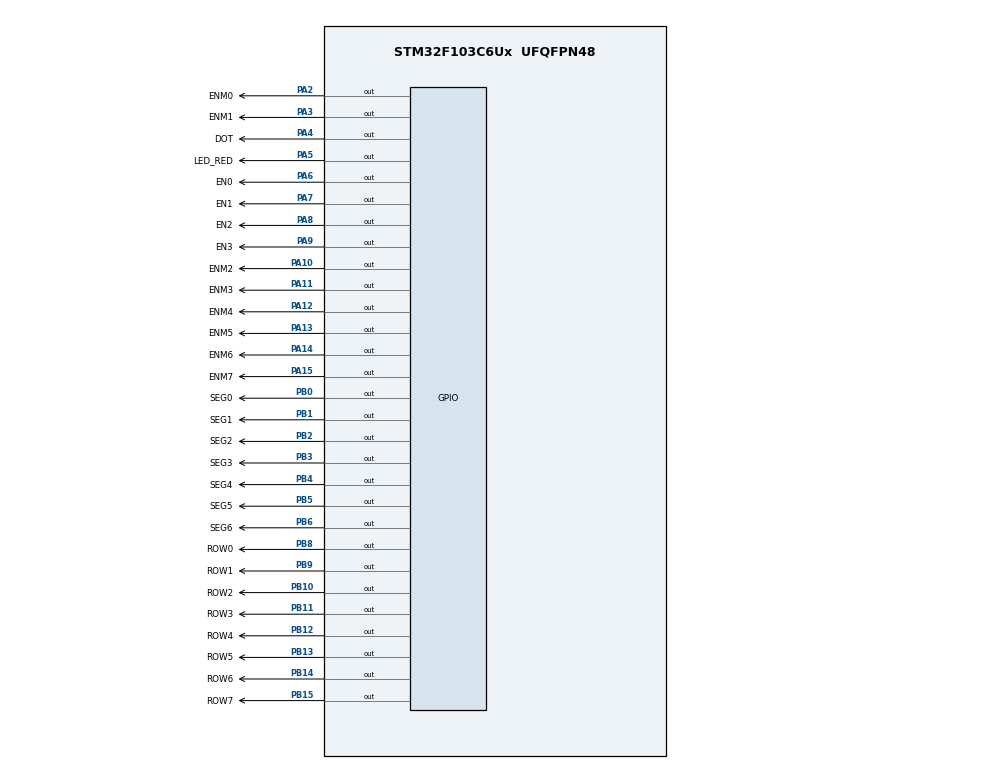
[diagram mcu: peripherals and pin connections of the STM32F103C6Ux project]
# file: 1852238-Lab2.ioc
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Mcu.Family=STM32F1
Mcu.Name=STM32F103C6Ux
Mcu.Package=UFQFPN48
NVIC.PriorityGroup=NVIC_PRIORITYGROUP_4
NVIC.TIM2_IRQn=true\:0\:0\:false\:false\:true\:true\:true
PA10.GPIO_Label=ENM2
PA10.Signal=GPIO_Output
PA11.GPIO_Label=ENM3
PA11.Signal=GPIO_Output
PA12.GPIO_Label=ENM4
PA12.Signal=GPIO_Output
PA13.GPIO_Label=ENM5
PA13.Signal=GPIO_Output
PA14.GPIO_Label=ENM6
PA14.Signal=GPIO_Output
PA15.GPIO_Label=ENM7
PA15.Signal=GPIO_Output
PA2.GPIO_Label=ENM0
PA2.Signal=GPIO_Output
PA3.GPIO_Label=ENM1
PA3.Signal=GPIO_Output
PA4.GPIO_Label=DOT
PA4.Signal=GPIO_Output
PA5.GPIO_Label=LED_RED
PA5.Signal=GPIO_Output
PA6.GPIO_Label=EN0
PA6.Signal=GPIO_Output
PA7.GPIO_Label=EN1
PA7.Signal=GPIO_Output
PA8.GPIO_Label=EN2
PA8.Signal=GPIO_Output
PA9.GPIO_Label=EN3
PA9.Signal=GPIO_Output
PB0.GPIO_Label=SEG0
PB0.Signal=GPIO_Output
PB1.GPIO_Label=SEG1
PB1.Signal=GPIO_Output
PB10.GPIO_Label=ROW2
PB10.Signal=GPIO_Output
PB11.GPIO_Label=ROW3
PB11.Signal=GPIO_Output
PB12.GPIO_Label=ROW4
PB12.Signal=GPIO_Output
PB13.GPIO_Label=ROW5
PB13.Signal=GPIO_Output
PB14.GPIO_Label=ROW6
PB14.Signal=GPIO_Output
PB15.GPIO_Label=ROW7
PB15.Signal=GPIO_Output
PB2.GPIO_Label=SEG2
PB2.Signal=GPIO_Output
PB3.GPIO_Label=SEG3
PB3.Signal=GPIO_Output
PB4.GPIO_Label=SEG4
PB4.Signal=GPIO_Output
PB5.GPIO_Label=SEG5
PB5.Signal=GPIO_Output
PB6.GPIO_Label=SEG6
PB6.Signal=GPIO_Output
PB8.GPIO_Label=ROW0
PB8.Signal=GPIO_Output
PB9.GPIO_Label=ROW1
PB9.Signal=GPIO_Output
ProjectManager.HeapSize=0x200
ProjectManager.StackSize=0x400
ProjectManager.TargetToolchain=STM32CubeIDE
RCC.APB1Freq_Value=8000000
RCC.APB2Freq_Value=8000000
TIM2.Period=10
TIM2.Prescaler=7999
VP_SYS_VS_ND.Mode=No_Debug
VP_TIM2_VS_ClockSourceINT.Mode=Internal
board=custom

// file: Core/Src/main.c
/* USER CODE BEGIN Header */
/**
  ******************************************************************************
  * @file           : main.c
  * @brief          : Main program body
  ******************************************************************************
  * @attention
  *
  * <h2><center>&copy; Copyright (c) 2022 STMicroelectronics.
  * All rights reserved.</center></h2>
  *
  * This software component is licensed by ST under BSD 3-Clause license,
  * the "License"; You may not use this file except in compliance with the
  * License. You may obtain a copy of the License at:
  *                        opensource.org/licenses/BSD-3-Clause
  *
  ******************************************************************************
  */
/* USER CODE END Header */
#include "main.h"

/* USER CODE BEGIN Includes */
#include "global.h"
/* USER CODE END Includes */

TIM_HandleTypeDef htim2;

void SystemClock_Config(void);
static void MX_GPIO_Init(void);
static void MX_TIM2_Init(void);

int main(void)
{

  /* MCU Configuration--------------------------------------------------------*/

  /* Reset of all peripherals, Initializes the Flash interface and the Systick. */
  HAL_Init();

  /* Configure the system clock */
  SystemClock_Config();

  /* Initialize all configured peripherals */
  MX_GPIO_Init();
  MX_TIM2_Init();

  /* Infinite loop */
  /* USER CODE BEGIN WHILE */
  //INIT variables
  setTimer1(10);  //timer1 (ms)
  setTimer2(10); //timer2
  int index_led = 0; //index for display which 7SEG
  hour = 15; //hr
  min = 8; //min
  sec = 50; //sec
  HAL_GPIO_WritePin(EN0_GPIO_Port, EN0_Pin, SET); //Turn off 4 7SEG
  HAL_GPIO_WritePin(EN1_GPIO_Port, EN1_Pin, SET); //
  HAL_GPIO_WritePin(EN2_GPIO_Port, EN2_Pin, SET); //
  HAL_GPIO_WritePin(EN3_GPIO_Port, EN3_Pin, SET); /////////////////

  while (1)
  {
	  //INIT first timer1
	  if (timer1_flag == 1) {
		  //Reset timer1
		  timer1_flag = 0;
		  //TODO
		  HAL_GPIO_TogglePin(LED_RED_GPIO_Port, LED_RED_Pin); //Blink LED
		  //HAL_GPIO_TogglePin(DOT_GPIO_Port, DOT_Pin); //Blink DOT

		  updateLEDMatrix(0);

		  if (sec >= 60) {
			  sec = 0;
			  min++;
		  }

		  if (min >= 60) {
			  min = 0;
			  hour++;
		  }

		  if (hour >= 24) {
			  hour = 0;
		  }
		  updateClockBuffer();
		  sec++;

		  //Set the time for timer1
		  setTimer1(1000);
	  }

	  if (timer2_flag == 1) {
		  //Reset timer2
		  timer2_flag = 0;
		  //TODO
		  //Reset index
		  if (index_led > 3) {
			  index_led = 0;
		  }

		  //update7SEG(index_led++); //display which 7SEG

		  //Set the time for timer2
		  setTimer2(250);
	  }

    /* USER CODE END WHILE */

  }
}

void SystemClock_Config(void)
{
  RCC_OscInitTypeDef RCC_OscInitStruct = {0};
  RCC_ClkInitTypeDef RCC_ClkInitStruct = {0};

  /** Initializes the RCC Oscillators according to the specified parameters
  * in the RCC_OscInitTypeDef structure.
  */
  RCC_OscInitStruct.OscillatorType = RCC_OSCILLATORTYPE_HSI;
  RCC_OscInitStruct.HSIState = RCC_HSI_ON;
  RCC_OscInitStruct.HSICalibrationValue = RCC_HSICALIBRATION_DEFAULT;
  RCC_OscInitStruct.PLL.PLLState = RCC_PLL_NONE;
  if (HAL_RCC_OscConfig(&RCC_OscInitStruct) != HAL_OK)
  {
    Error_Handler();
  }
  /** Initializes the CPU, AHB and APB buses clocks
  */
  RCC_ClkInitStruct.ClockType = RCC_CLOCKTYPE_HCLK|RCC_CLOCKTYPE_SYSCLK
                              |RCC_CLOCKTYPE_PCLK1|RCC_CLOCKTYPE_PCLK2;
  RCC_ClkInitStruct.SYSCLKSource = RCC_SYSCLKSOURCE_HSI;
  RCC_ClkInitStruct.AHBCLKDivider = RCC_SYSCLK_DIV1;
  RCC_ClkInitStruct.APB1CLKDivider = RCC_HCLK_DIV1;
  RCC_ClkInitStruct.APB2CLKDivider = RCC_HCLK_DIV1;

  if (HAL_RCC_ClockConfig(&RCC_ClkInitStruct, FLASH_LATENCY_0) != HAL_OK)
  {
    Error_Handler();
  }
}

static void MX_TIM2_Init(void)
{

  TIM_ClockConfigTypeDef sClockSourceConfig = {0};
  TIM_MasterConfigTypeDef sMasterConfig = {0};

  htim2.Instance = TIM2;
  htim2.Init.Prescaler = 7999;
  htim2.Init.CounterMode = TIM_COUNTERMODE_UP;
  htim2.Init.Period = 10;
  htim2.Init.ClockDivision = TIM_CLOCKDIVISION_DIV1;
  htim2.Init.AutoReloadPreload = TIM_AUTORELOAD_PRELOAD_DISABLE;
  if (HAL_TIM_Base_Init(&htim2) != HAL_OK)
  {
    Error_Handler();
  }
  sClockSourceConfig.ClockSource = TIM_CLOCKSOURCE_INTERNAL;
  if (HAL_TIM_ConfigClockSource(&htim2, &sClockSourceConfig) != HAL_OK)
  {
    Error_Handler();
  }
  sMasterConfig.MasterOutputTrigger = TIM_TRGO_RESET;
  sMasterConfig.MasterSlaveMode = TIM_MASTERSLAVEMODE_DISABLE;
  if (HAL_TIMEx_MasterConfigSynchronization(&htim2, &sMasterConfig) != HAL_OK)
  {
    Error_Handler();
  }
  /* USER CODE BEGIN TIM2_Init 2 */
  HAL_TIM_Base_Start_IT(&htim2);
  /* USER CODE END TIM2_Init 2 */

}

static void MX_GPIO_Init(void)
{
  GPIO_InitTypeDef GPIO_InitStruct = {0};

  /* GPIO Ports Clock Enable */
  __HAL_RCC_GPIOA_CLK_ENABLE();
  __HAL_RCC_GPIOB_CLK_ENABLE();

  /*Configure GPIO pin Output Level */
  HAL_GPIO_WritePin(GPIOA, ENM0_Pin|ENM1_Pin|DOT_Pin|LED_RED_Pin
                          |EN0_Pin|EN1_Pin|EN2_Pin|EN3_Pin
                          |ENM2_Pin|ENM3_Pin|ENM4_Pin|ENM5_Pin
                          |ENM6_Pin|ENM7_Pin, GPIO_PIN_RESET);

  /*Configure GPIO pin Output Level */
  HAL_GPIO_WritePin(GPIOB, SEG0_Pin|SEG1_Pin|SEG2_Pin|ROW2_Pin
                          |ROW3_Pin|ROW4_Pin|ROW5_Pin|ROW6_Pin
                          |ROW7_Pin|SEG3_Pin|SEG4_Pin|SEG5_Pin
                          |SEG6_Pin|ROW0_Pin|ROW1_Pin, GPIO_PIN_RESET);

  /*Configure GPIO pins : ENM0_Pin ENM1_Pin DOT_Pin LED_RED_Pin
                           EN0_Pin EN1_Pin EN2_Pin EN3_Pin
                           ENM2_Pin ENM3_Pin ENM4_Pin ENM5_Pin
                           ENM6_Pin ENM7_Pin */
  GPIO_InitStruct.Pin = ENM0_Pin|ENM1_Pin|DOT_Pin|LED_RED_Pin
                          |EN0_Pin|EN1_Pin|EN2_Pin|EN3_Pin
                          |ENM2_Pin|ENM3_Pin|ENM4_Pin|ENM5_Pin
                          |ENM6_Pin|ENM7_Pin;
  GPIO_InitStruct.Mode = GPIO_MODE_OUTPUT_PP;
  GPIO_InitStruct.Pull = GPIO_NOPULL;
  GPIO_InitStruct.Speed = GPIO_SPEED_FREQ_LOW;
  HAL_GPIO_Init(GPIOA, &GPIO_InitStruct);

  /*Configure GPIO pins : SEG0_Pin SEG1_Pin SEG2_Pin ROW2_Pin
                           ROW3_Pin ROW4_Pin ROW5_Pin ROW6_Pin
                           ROW7_Pin SEG3_Pin SEG4_Pin SEG5_Pin
                           SEG6_Pin ROW0_Pin ROW1_Pin */
  GPIO_InitStruct.Pin = SEG0_Pin|SEG1_Pin|SEG2_Pin|ROW2_Pin
                          |ROW3_Pin|ROW4_Pin|ROW5_Pin|ROW6_Pin
                          |ROW7_Pin|SEG3_Pin|SEG4_Pin|SEG5_Pin
                          |SEG6_Pin|ROW0_Pin|ROW1_Pin;
  GPIO_InitStruct.Mode = GPIO_MODE_OUTPUT_PP;
  GPIO_InitStruct.Pull = GPIO_NOPULL;
  GPIO_InitStruct.Speed = GPIO_SPEED_FREQ_LOW;
  HAL_GPIO_Init(GPIOB, &GPIO_InitStruct);

}

/* USER CODE BEGIN 4 */

//Main
void HAL_TIM_PeriodElapsedCallback(TIM_HandleTypeDef *htim) {
	//INIT
	timerRun();
}
/* USER CODE END 4 */

void Error_Handler(void)
{
  __disable_irq();
  while (1)
  {
  }
}

/************************ (C) COPYRIGHT STMicroelectronics *****END OF FILE****/
